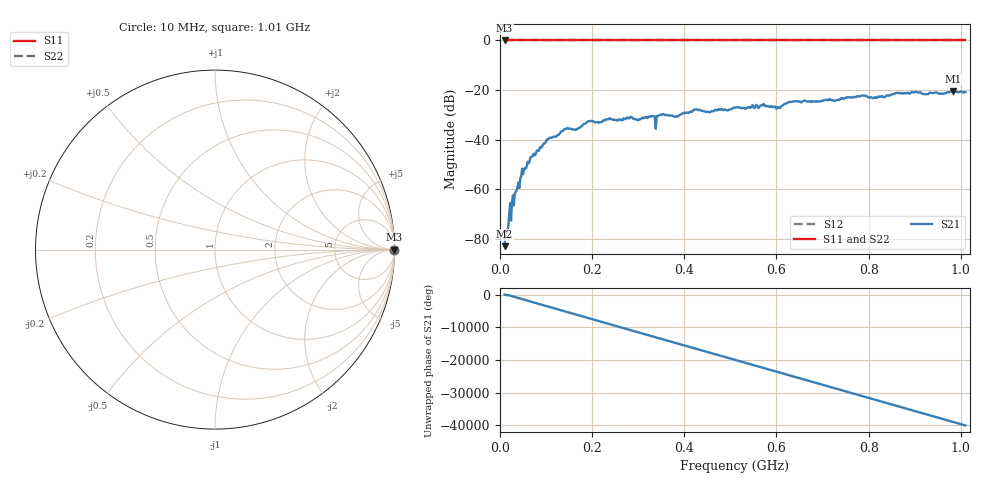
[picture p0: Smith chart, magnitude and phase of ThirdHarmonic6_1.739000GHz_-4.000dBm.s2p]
! 8/16/2025 8:57:25 PM
! C:\ANRITSUVNA\TEMP\TEMP.S2P
! CHANNEL.1
! TR.MEASUREMENT
! RAW.DATA
! RF.CORRECTION.OFF
! AVERAGING.OFF
! IF.BANDWIDTH: 5KHZ
! SWEEPTYPE:  FREQ.SWEEP(Linear)
! Reference Plane Port Info
! PORT:  PORT1  PORT2
! DISTANCE:  0  m  0  m
! TIME:  0  s  0  s
! PHASE.OFFSET:  0  deg.  0  deg.
! LOSS:  0  dB  0  dB
! REF.LOSS:  0  dB  0  dB
! REF.FREQ:  0  Hz  0  Hz
! Power Info
! POWER:  -20  dBm  -20  dBm
! EFF.POWER:  -20  dBm  -20  dBm
! SOURCE.ATTEN:  0  dB  0  dB
! TEST.ATTEN:  0  dB  0  dB
# GHZ S RI R 50.0
! FREQ.GHZ  S11RE  S11IM  S21RE  S21IM  S12RE  S12IM  S22RE  S22IM
!; PortSelection: Port_12
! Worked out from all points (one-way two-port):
!   501 points, 10 MHz to 1.01 GHz, reference 50 ohm
!   highest |S21| = -20.32 dB at 984 MHz (marker M1); lowest = -82.8 dB at 10 MHz (marker M2)
!   lowest |S11| = 0.0 dB at 10 MHz (marker M3)
!   |S11| at or under -10 dB: nowhere
!   |S22| runs from 0.0 to 0.0 dB; largest |S21 - S12| = 1.1
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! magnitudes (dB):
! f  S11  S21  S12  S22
! 10 MHz  0.0  -82.8  0.0  0.0
! 14 MHz  0.0  -77.3  0.0  0.0
! 24 MHz  0.0  -72.5  0.0  0.0
! 36 MHz  0.0  -60.4  0.0  0.0
! 50 MHz  0.0  -53.8  0.0  0.0
! 70 MHz  0.0  -46.8  0.0  0.0
! 106 MHz  0.0  -39.5  0.0  0.0
! 142 MHz  0.0  -35.7  0.0  0.0
! 178 MHz  0.0  -34.3  0.0  0.0
! 196 MHz  0.0  -32.5  0.0  0.0
! 338 MHz  0.0  -35.6  0.0  0.0
! 344 MHz  0.0  -30.3  0.0  0.0
! 382 MHz  0.0  -30.6  0.0  0.0
! 424 MHz  0.0  -27.8  0.0  0.0
! 452 MHz  0.0  -28.7  0.0  0.0
! 510 MHz  0.0  -27.0  0.0  0.0
! 604 MHz  0.0  -26.8  0.0  0.0
! 630 MHz  0.0  -24.6  0.0  0.0
! 678 MHz  0.0  -24.7  0.0  0.0
! 844 MHz  0.0  -22.2  0.0  0.0
! 984 MHz  0.0  -20.3  0.0  0.0
! 1.01 GHz  0.0  -20.8  0.0  0.0
